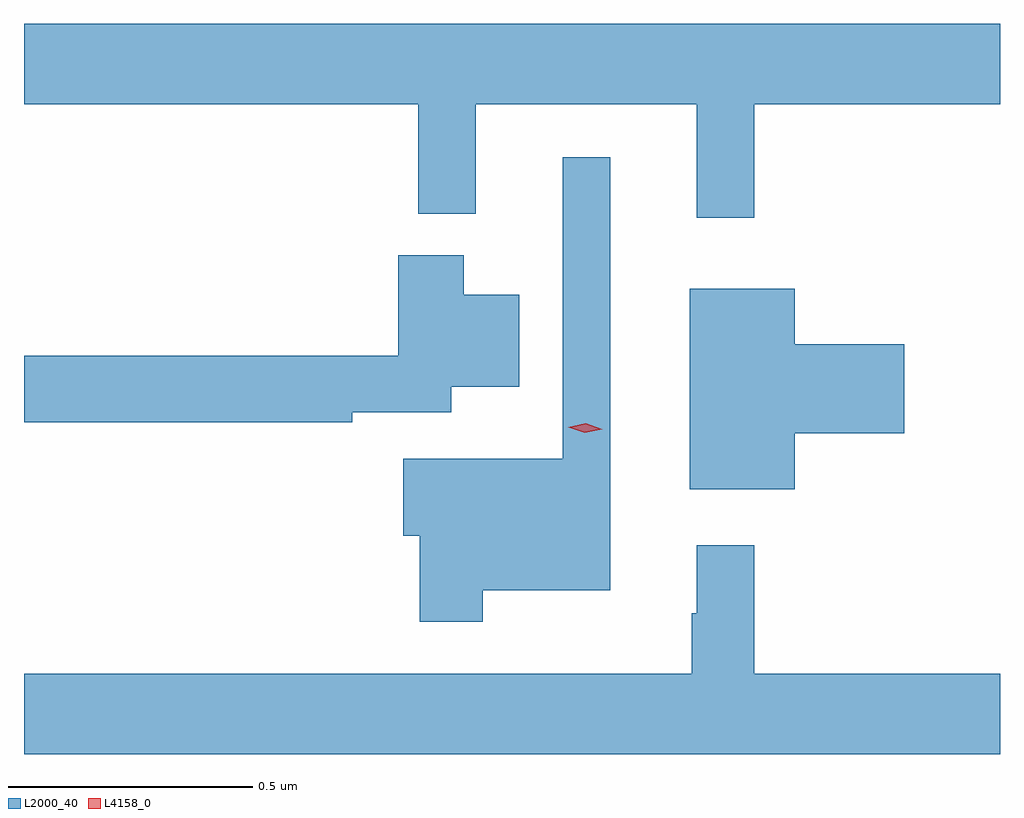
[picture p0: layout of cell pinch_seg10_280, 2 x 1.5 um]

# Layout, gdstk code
import gdstk
lib = gdstk.Library(unit=1e-6, precision=1e-09)
def P(c, l, *ps):  # polygons
    for p in ps: c.add(gdstk.Polygon(p, *l))
L2000_40 = (2000, 40)
L4158_0 = (4158, 0)

pinch_seg10_280 = lib.new_cell('pinch_seg10_280')
P(pinch_seg10_280, L2000_40, [(565.451,1301.648),(565.955,1301.648),(565.955,1301.812),(563.955,1301.812),(563.955,1301.648),(564.763,1301.648),(564.763,1301.423),(564.881,1301.423),(564.881,1301.648),(565.334,1301.648),(565.334,1301.415),(565.451,1301.415)],
  [(564.895,1300.652),(565.156,1300.652),(565.156,1301.539),(565.059,1301.539),(565.059,1300.921),(564.732,1300.921),(564.732,1300.763),(564.766,1300.763),(564.766,1300.587),(564.895,1300.587)],
  [(564.628,1301.016),(564.831,1301.016),(564.831,1301.069),(564.97,1301.069),(564.97,1301.257),(564.856,1301.257),(564.856,1301.338),(564.722,1301.338),(564.722,1301.132),(563.955,1301.132),(563.955,1300.996),(564.628,1300.996)],
  [(565.534,1300.973),(565.759,1300.973),(565.759,1301.156),(565.534,1301.156),(565.534,1301.269),(565.319,1301.269),(565.319,1300.859),(565.534,1300.859)],
  [(565.955,1300.48),(565.451,1300.48),(565.451,1300.744),(565.334,1300.744),(565.334,1300.604),(565.323,1300.604),(565.323,1300.48),(563.955,1300.48),(563.955,1300.316),(565.955,1300.316)])
P(pinch_seg10_280, L4158_0, [(565.104,1300.974),(565.07,1300.986),(565.069,1300.986),(565.07,1300.986),(565.106,1300.994),(565.14,1300.982),(565.14,1300.982),(565.14,1300.982)])

lib.write_gds('pinch_seg10_280.gds')
